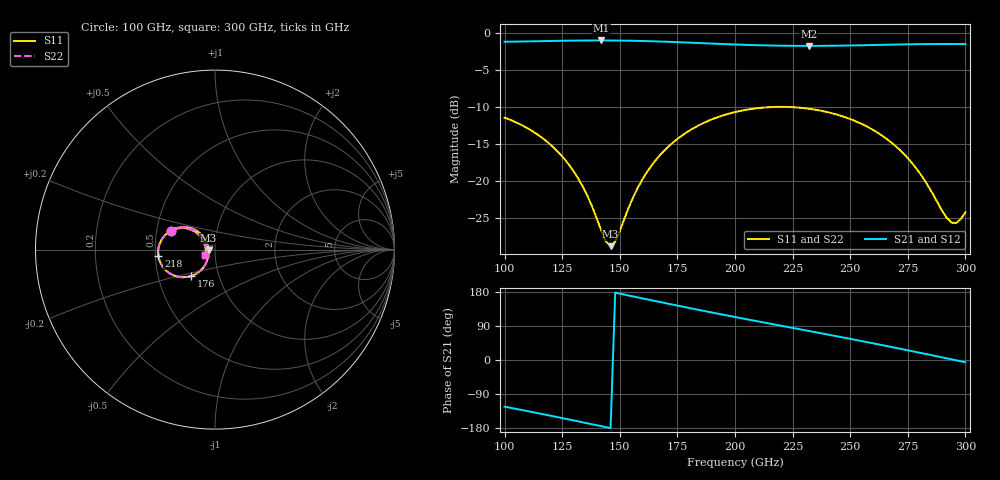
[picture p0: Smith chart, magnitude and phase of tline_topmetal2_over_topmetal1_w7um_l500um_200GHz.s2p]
#  GHZ S DB R 50
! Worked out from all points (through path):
!   101 points, 100 GHz to 300 GHz, reference 50 ohm
!   highest |S21| = -0.98 dB at 142 GHz (marker M1); lowest = -1.7 dB at 232 GHz (marker M2)
!   group delay of S21, straight-line fit = 3.35 ps
!   lowest |S11| = -28.8 dB at 146 GHz (marker M3), VSWR 1.08, Z = 46.5 - j0.252 ohm
!   |S11| at or under -10 dB: start of sweep to 215.8 GHz; 224.1 GHz to end of sweep
!   |S22| runs from -28.9 to -10.0 dB; largest |S21 - S12| = 9.6e-14
!   S11 on the Smith chart (normalised r, x): 100 GHz: 0.59, +0.14; 176 GHz: 0.74, -0.23; 218 GHz: 0.52, -0.04; 300 GHz: 0.90, -0.06
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100  -11.43 156.7  -1.15 -123.1  -1.15 -123.1  -11.43 156.7
120  -15.11 137.7  -1.05 -147.1  -1.05 -147.1  -15.11 137.6
128  -17.83 132.6  -1.01 -157.0  -1.01 -157.0  -17.84 132.5
134  -20.81 132.4  -0.99 -164.6  -0.99 -164.6  -20.82 132.3
142  -26.76 151.2  -0.98 -174.7  -0.98 -174.7  -26.82 151.0
144  -28.21 165.4  -0.98 -177.2  -0.98 -177.2  -28.29 165.3
146  -28.83 -175.7  -0.98 -179.8  -0.98 -179.8  -28.93 -175.6
148  -28.22 -156.8  -0.99 177.7  -0.99 177.7  -28.30 -156.4
158  -20.81 -123.5  -1.04 164.9  -1.04 164.9  -20.82 -123.2
168  -16.32 -125.8  -1.13 152.3  -1.13 152.3  -16.32 -125.6
176  -14.07 -132.0  -1.22 142.3  -1.22 142.3  -14.07 -131.8
188  -11.92 -143.3  -1.37 127.7  -1.37 127.7  -11.92 -143.1
200  -10.68 -155.3  -1.52 113.5  -1.52 113.5  -10.68 -155.1
218  -9.98 -173.4  -1.67 92.7  -1.67 92.7  -9.97 -173.1
232  -10.22 172.8  -1.71 76.7  -1.71 76.7  -10.21 173.1
234  -10.31 170.9  -1.71 74.4  -1.71 74.4  -10.30 171.1
250  -11.62 155.7  -1.66 55.8  -1.66 55.8  -11.61 156.0
268  -14.83 141.1  -1.54 34.2  -1.54 34.2  -14.81 141.4
278  -18.03 137.5  -1.49 21.9  -1.49 21.9  -18.00 137.9
294  -25.65 176.0  -1.46 1.8  -1.46 1.8  -25.54 176.1
296  -25.69 -171.2  -1.46 -0.8  -1.46 -0.8  -25.58 -171.3
300  -24.24 -149.6  -1.47 -5.8  -1.47 -5.8  -24.17 -149.9
